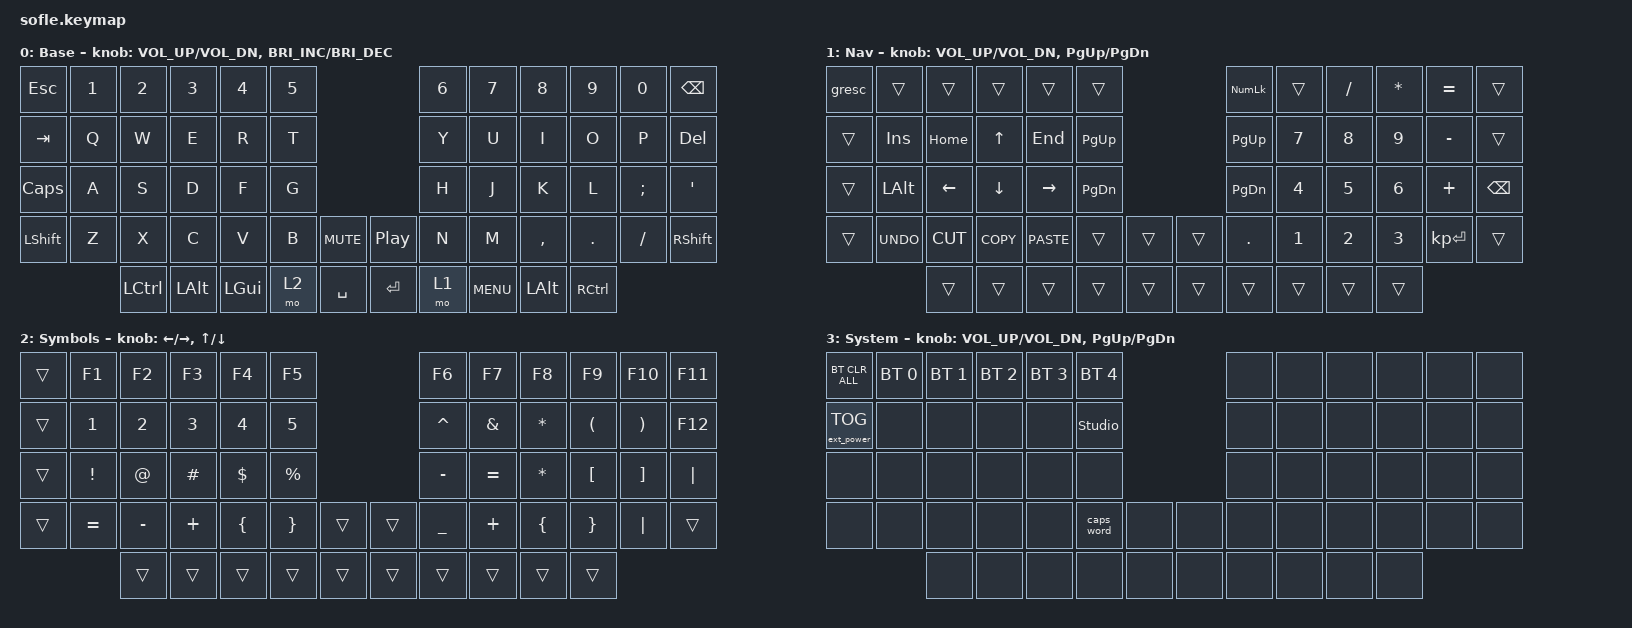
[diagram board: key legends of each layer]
/*
 * Copyright (c) 2020 The ZMK Contributors
 *
 * SPDX-License-Identifier: MIT
 */

#include <behaviors.dtsi>
#include <dt-bindings/zmk/bt.h>
#include <dt-bindings/zmk/ext_power.h>
#include <dt-bindings/zmk/keys.h>

#define BASE 0
#define LOWER 1
#define RAISE 2
#define ADJUST 3

/ {
    // Activate ADJUST layer by pressing raise and lower

    conditional_layers {
        compatible = "zmk,conditional-layers";

        adjust_layer {
            if-layers = <2 1>;
            then-layer = <3>;
        };
    };

    combos {
        compatible = "zmk,combos";

        backspace {
            bindings = <&kp BACKSPACE>;
            key-positions = <32 31>;
        };

        delete {
            bindings = <&kp DELETE>;
            key-positions = <27 33>;
        };

        esc {
            bindings = <&kp ESCAPE>;
            key-positions = <25 41>;
        };
    };

    behaviors {
        caps: caps {
            compatible = "zmk,behavior-caps-word";
            label = "CAPS";
            #binding-cells = <0>;
            continue-list = <POUND MINUS BACKSPACE UNDERSCORE>;
        };
    };

    keymap {
        compatible = "zmk,keymap";

        default_layer {
            display-name = "Base";

            // ------------------------------------------------------------------------------------------------------------
            // |   `   |  1  |  2  |  3   |  4   |  5   |                   |  6   |  7    |  8    |  9   |   0   |       |
            // |  ESC  |  Q  |  W  |  E   |  R   |  T   |                   |  Y   |  U    |  I    |  O   |   P   | BKSPC |
            // |  TAB  |  A  |  S  |  D   |  F   |  G   |                   |  H   |  J    |  K    |  L   |   ;   |   '   |
            // | SHIFT |  Z  |  X  |  C   |  V   |  B   |  MUTE  |  |       |  N   |  M    |  ,    |  .   |   /   | SHIFT |
            //               | GUI | ALT  | CTRL | LOWER|  ENTER |  | SPACE | RAISE| CTRL  | ALT   | GUI  |

            bindings = <
&kp ESCAPE      &kp N1  &kp N2            &kp N3    &kp N4        &kp N5                                  &kp N6  &kp N7      &kp N8     &kp N9             &kp N0    &kp BACKSPACE
&kp TAB         &kp Q   &kp W             &kp E     &kp R         &kp T                                   &kp Y   &kp U       &kp I      &kp O              &kp P     &kp DELETE
&kp CAPSLOCK    &kp A   &kp S             &kp D     &kp F         &kp G                                   &kp H   &kp J       &kp K      &kp L              &kp SEMI  &kp SQT
&kp LEFT_SHIFT  &kp Z   &kp X             &kp C     &kp V         &kp B   &kp C_MUTE    &kp C_PLAY_PAUSE  &kp N   &kp M       &kp COMMA  &kp DOT            &kp FSLH  &kp RSHFT
                        &kp LEFT_CONTROL  &kp LALT  &kp LEFT_GUI  &mo 2   &kp SPACE     &kp ENTER         &mo 1   &kp C_MENU  &kp LALT   &kp RIGHT_CONTROL
            >;

            sensor-bindings =
                <&inc_dec_kp C_VOL_UP C_VOL_DN>,
                <&inc_dec_kp C_BRIGHTNESS_INC C_BRIGHTNESS_DEC>;
        };

        raise_layer {
            display-name = "Nav";

            // ------------------------------------------------------------------------------------------------------------
            // | BTCLR | BT1  | BT2  |  BT3  |  BT4  |  BT5 |                |      |      |       |      |       |       |
            // |       | INS  | PSCR | GUI   |       |      |                | PGUP |      |   ^   |      |       |       |
            // |       | ALT  | CTRL | SHIFT |       | CAPS |                | PGDN |   <- |   v   |  ->  |  DEL  | BKSPC |
            // |       | UNDO | CUT  | COPY  | PASTE |      |      |  |      |      |      |       |      |       |       |
            //                |      |       |       |      |      |  |      |      |      |       |      |

            bindings = <
&gresc  &trans      &trans          &trans          &trans           &trans                           &kp KP_NUMLOCK  &trans        &kp SLASH     &kp ASTERISK  &kp EQUAL     &trans
&trans  &kp INS     &kp HOME        &kp UP_ARROW    &kp END          &kp PAGE_UP                      &kp PG_UP       &kp NUMBER_7  &kp NUMBER_8  &kp NUMBER_9  &kp MINUS     &trans
&trans  &kp LALT    &kp LEFT_ARROW  &kp DOWN_ARROW  &kp RIGHT_ARROW  &kp PAGE_DOWN                    &kp PG_DN       &kp NUMBER_4  &kp NUMBER_5  &kp NUMBER_6  &kp PLUS      &kp BSPC
&trans  &kp K_UNDO  &kp K_CUT       &kp K_COPY      &kp K_PASTE      &trans         &trans    &trans  &kp PERIOD      &kp NUMBER_1  &kp NUMBER_2  &kp NUMBER_3  &kp KP_ENTER  &trans
                    &trans          &trans          &trans           &trans         &trans    &trans  &trans          &trans        &trans        &trans
            >;

            sensor-bindings = <&inc_dec_kp C_VOL_UP C_VOL_DN &inc_dec_kp PG_UP PG_DN>;
        };

        lower_layer {
            display-name = "Symbols";

            // TODO: Some binds are waiting for shifted keycode support.
            // ------------------------------------------------------------------------------------------------------------
            // |       |  F1 |  F2 |  F3  |  F4  |  F5  |                   |  F6  |  F7   |  F8   |  F9  |  F10  |  F11  |
            // |   `   |  1  |  2  |  3   |  4   |  5   |                   |  6   |  7    |  8    |  9   |   0   |  F12  |
            // |       |  !  |  @  |  #   |  $   |  %   |                   |  ^   |  &    |  *    |  (   |   )   |   |   |
            // |       |  =  |  -  |  +   |  {   |  }   |        |  |       |  [   |  ]    |  ;    |  :   |   \   |       |
            //               |     |      |      |      |        |  |       |      |       |       |      |

            bindings = <
&trans  &kp F1     &kp F2     &kp F3    &kp F4    &kp F5                       &kp F6          &kp F7         &kp F8          &kp F9                &kp F10                &kp F11
&trans  &kp N1     &kp N2     &kp N3    &kp N4    &kp N5                       &kp CARET       &kp AMPERSAND  &kp ASTRK       &kp LEFT_PARENTHESIS  &kp RIGHT_PARENTHESIS  &kp F12
&trans  &kp EXCL   &kp AT     &kp HASH  &kp DLLR  &kp PRCNT                    &kp MINUS       &kp EQUAL      &kp ASTRK       &kp LEFT_BRACKET      &kp RIGHT_BRACKET      &kp PIPE
&trans  &kp EQUAL  &kp MINUS  &kp PLUS  &kp LBRC  &kp RBRC   &trans    &trans  &kp UNDERSCORE  &kp PLUS       &kp LEFT_BRACE  &kp RIGHT_BRACE       &kp PIPE               &trans
                   &trans     &trans    &trans    &trans     &trans    &trans  &trans          &trans         &trans          &trans
            >;

            sensor-bindings =
                <&inc_dec_kp LEFT_ARROW RIGHT_ARROW>,
                <&inc_dec_kp UP_ARROW DOWN_ARROW>;
        };

        adjust_layer {
            // ----------------------------------------------------------------------------------------------------------------------------
            // | BTCLR  |  BT1    |  BT2    |   BT3   |   BT4   |   BT5   |                  |      |      |       |      |       |       |
            // | EXTPWR | RGB_HUD | RGB_HUI | RGB_SAD | RGB_SAI | RGB_EFF |                  |      |      |       |      |       |       |
            // |        | RGB_BRD | RGB_BRI |         |         |         |                  |      |      |       |      |       |       |
            // |        |         |         |         |         |         | RGB_TOG | |      |      |      |       |      |       |       |
            //                    |         |         |         |         |         | |      |      |      |       |      |

            display-name = "System";
            bindings = <
&bt BT_CLR_ALL     &bt BT_SEL 0  &bt BT_SEL 1  &bt BT_SEL 2  &bt BT_SEL 3  &bt BT_SEL 4                    &none  &none  &none  &none  &none  &none
&ext_power EP_TOG  &none         &none         &none         &none         &studio_unlock                  &none  &none  &none  &none  &none  &none
&none              &none         &none         &none         &none         &none                           &none  &none  &none  &none  &none  &none
&none              &none         &none         &none         &none         &caps_word      &none    &none  &none  &none  &none  &none  &none  &none
                                 &none         &none         &none         &none           &none    &none  &none  &none  &none  &none
            >;

            sensor-bindings = <&inc_dec_kp C_VOL_UP C_VOL_DN &inc_dec_kp PG_UP PG_DN>;
        };
    };
};
